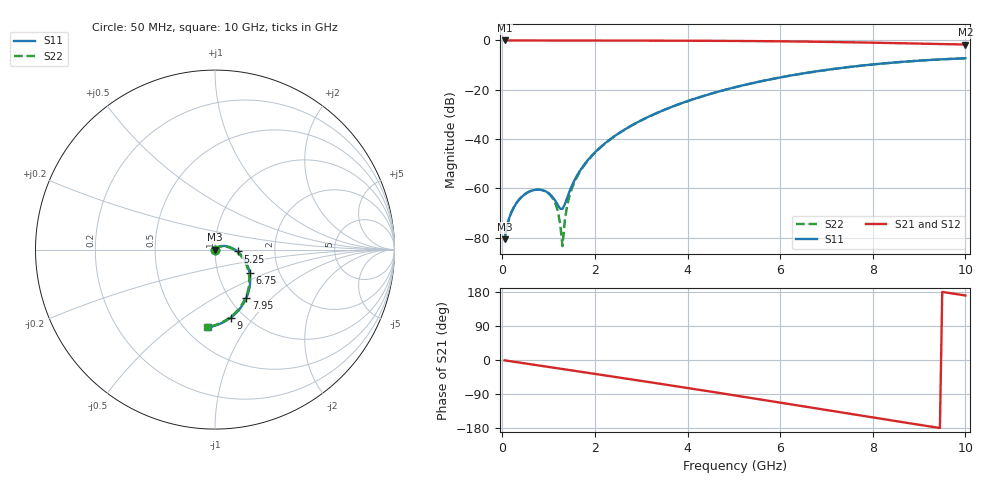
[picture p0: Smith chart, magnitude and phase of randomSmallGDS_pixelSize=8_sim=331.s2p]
! freq	dB(S11)	phase(S11)	dB(S12)	phase(S12)
!  dB(S21)	phase(S21)	dB(S22)	phase(S22)
!S-par simulation data
#  GHz  S  DB  R 50
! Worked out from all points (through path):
!   200 points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, 50 MHz to 10 GHz, reference 50 ohm
!   highest |S21| = 0.00 dB at 50 MHz (marker M1); lowest = -1.7 dB at 10 GHz (marker M2)
!   group delay of S21, straight-line fit = 53 ps
!   lowest |S11| = -80.7 dB at 50 MHz (marker M3), VSWR 1.00, Z = 50 - j0.00821 ohm
!   |S11| at or under -10 dB: start of sweep to 7.862 GHz
!   |S22| runs from -83.5 to -7.2 dB; largest |S21 - S12| = 0
!   S11 on the Smith chart (normalised r, x): 50 MHz: 1.00, -0.00; 5.25 GHz: 1.29, -0.03; 6.75 GHz: 1.41, -0.39; 7.95 GHz: 1.18, -0.72; 9 GHz: 0.87, -0.78; 10 GHz: 0.64, -0.68
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0.05  -80.71 -63.0  -0.00 -0.9  -0.00 -0.9  -80.72 -62.5
0.15  -72.04 -81.1  -0.00 -2.8  -0.00 -2.8  -72.04 -79.9
0.3  -66.17 -88.0  -0.00 -5.5  -0.00 -5.5  -66.14 -85.8
0.5  -62.28 -95.0  -0.01 -9.2  -0.01 -9.2  -62.23 -91.3
0.75  -60.57 -104.7  -0.02 -13.8  -0.02 -13.8  -60.53 -98.1
0.95  -61.40 -115.6  -0.02 -17.4  -0.02 -17.4  -61.47 -103.9
1.1  -63.89 -130.6  -0.03 -20.2  -0.03 -20.2  -64.45 -109.4
1.2  -66.86 -153.2  -0.03 -22.0  -0.03 -22.0  -69.30 -116.3
1.3  -68.36 156.3  -0.03 -23.8  -0.03 -23.8  -83.52 152.5
1.4  -63.89 112.2  -0.03 -25.6  -0.03 -25.6  -67.06 77.6
1.45  -61.35 100.7  -0.03 -26.5  -0.03 -26.5  -63.17 73.3
1.75  -50.89 74.5  -0.04 -32.0  -0.04 -32.0  -51.22 62.9
2.4  -39.17 54.1  -0.05 -44.0  -0.05 -44.0  -39.24 48.5
3.4  -28.93 32.0  -0.08 -62.6  -0.08 -62.6  -28.96 28.7
5.05  -18.88 -0.8  -0.20 -94.0  -0.20 -94.0  -18.89 -3.0
5.25  -17.97 -4.8  -0.22 -97.9  -0.22 -97.9  -17.99 -6.9
6.7  -12.78 -33.2  -0.50 -126.2  -0.50 -126.2  -12.79 -34.9
6.75  -12.64 -34.2  -0.51 -127.2  -0.51 -127.2  -12.65 -35.9
7.95  -9.83 -57.4  -0.88 -150.7  -0.88 -150.7  -9.84 -58.8
8.35  -9.13 -64.9  -1.03 -158.4  -1.03 -158.4  -9.13 -66.3
9  -8.20 -77.0  -1.27 -170.9  -1.27 -170.9  -8.20 -78.3
10  -7.24 -95.0  -1.65 170.3  -1.65 170.3  -7.24 -96.1
